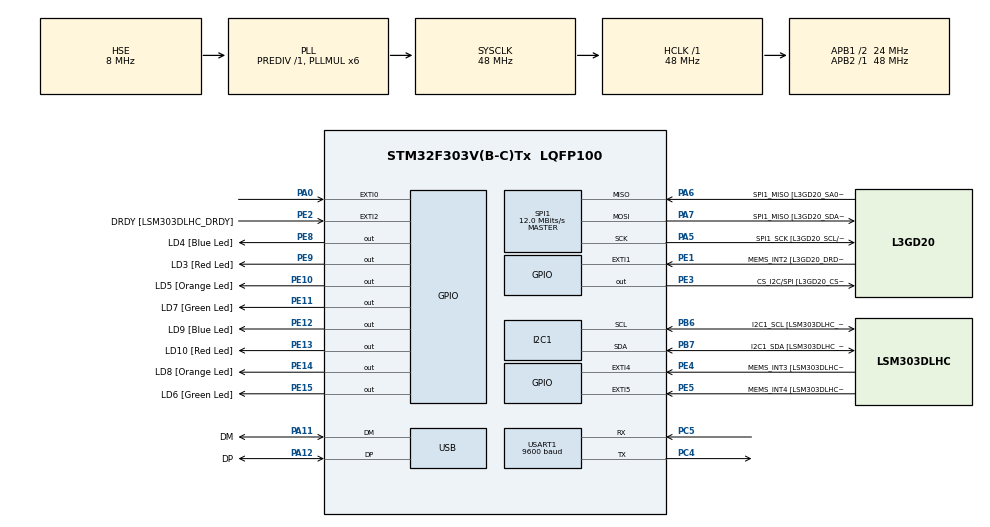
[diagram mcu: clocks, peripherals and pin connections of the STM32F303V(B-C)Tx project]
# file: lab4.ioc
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I2C1.Timing=0x2000090E
I2C1.Timing-I2C=0x2000090E
Mcu.Family=STM32F3
Mcu.Name=STM32F303V(B-C)Tx
Mcu.Package=LQFP100
NVIC.EXTI0_IRQn=true\:0\:0\:false\:false\:true\:true\:true\:true
NVIC.PriorityGroup=NVIC_PRIORITYGROUP_0
NVIC.TIM4_IRQn=true\:0\:0\:false\:false\:true\:true\:true\:true
NVIC.USART1_IRQn=true\:0\:0\:false\:false\:true\:true\:true\:true
PA0.GPIO_PuPd=GPIO_PULLDOWN
PA0.Signal=GPXTI0
PA11.GPIO_Label=DM
PA11.Mode=Device
PA11.Signal=USB_DM
PA12.GPIO_Label=DP
PA12.Mode=Device
PA12.Signal=USB_DP
PA13.GPIO_Label=SWDIO
PA13.Mode=Serial_Wire
PA13.Signal=SYS_JTMS-SWDIO
PA14.GPIO_Label=SWCLK
PA14.Mode=Serial_Wire
PA14.Signal=SYS_JTCK-SWCLK
PA5.GPIO_Label=SPI1_SCK [L3GD20_SCL/SPC]
PA5.Mode=Full_Duplex_Master
PA5.Signal=SPI1_SCK
PA6.GPIO_Label=SPI1_MISO [L3GD20_SA0/SDO]
PA6.Mode=Full_Duplex_Master
PA6.Signal=SPI1_MISO
PA7.GPIO_Label=SPI1_MISO [L3GD20_SDA/SDI/SDO]
PA7.Mode=Full_Duplex_Master
PA7.Signal=SPI1_MOSI
PB3.GPIO_Label=SWO
PB3.Signal=SYS_JTDO-TRACESWO
PB6.GPIO_Label=I2C1_SCL [LSM303DLHC_SCL]
PB6.GPIO_Pu=GPIO_PULLUP
PB6.Mode=I2C
PB6.Signal=I2C1_SCL
PB7.GPIO_Label=I2C1_SDA [LSM303DLHC_SDA]
PB7.GPIO_Pu=GPIO_PULLUP
PB7.Mode=I2C
PB7.Signal=I2C1_SDA
PC14-OSC32_IN.GPIO_Label=OSC32_IN
PC14-OSC32_IN.Signal=RCC_OSC32_IN
PC15-OSC32_OUT.GPIO_Label=OSC32_OUT
PC15-OSC32_OUT.Signal=RCC_OSC32_OUT
PC4.Mode=Asynchronous
PC4.Signal=USART1_TX
PC5.Mode=Asynchronous
PC5.Signal=USART1_RX
PE1.GPIO_Label=MEMS_INT2 [L3GD20_DRDY/INT2]
PE1.GPIO_ModeDefaultEXTI=GPIO_MODE_EVT_RISING
PE1.Signal=GPXTI1
PE10.GPIO_Label=LD5 [Orange Led]
PE10.Signal=GPIO_Output
PE11.GPIO_Label=LD7 [Green Led]
PE11.Signal=GPIO_Output
PE12.GPIO_Label=LD9 [Blue Led]
PE12.Signal=GPIO_Output
PE13.GPIO_Label=LD10 [Red Led]
PE13.Signal=GPIO_Output
PE14.GPIO_Label=LD8 [Orange Led]
PE14.Signal=GPIO_Output
PE15.GPIO_Label=LD6 [Green Led]
PE15.Signal=GPIO_Output
PE2.GPIO_Label=DRDY [LSM303DLHC_DRDY]
PE2.GPIO_ModeDefaultEXTI=GPIO_MODE_EVT_RISING
PE2.Signal=GPXTI2
PE3.GPIO_Label=CS_I2C/SPI [L3GD20_CS_I2C/SPI]
PE3.Signal=GPIO_Output
PE4.GPIO_Label=MEMS_INT3 [LSM303DLHC_INT1]
PE4.GPIO_ModeDefaultEXTI=GPIO_MODE_EVT_RISING
PE4.Signal=GPXTI4
PE5.GPIO_Label=MEMS_INT4 [LSM303DLHC_INT2]
PE5.GPIO_ModeDefaultEXTI=GPIO_MODE_EVT_RISING
PE5.Signal=GPXTI5
PE8.GPIO_Label=LD4 [Blue Led]
PE8.Signal=GPIO_Output
PE9.GPIO_Label=LD3 [Red Led]
PE9.Signal=GPIO_Output
PF0-OSC_IN.GPIO_Label=OSC_IN
PF0-OSC_IN.Mode=HSE-External-Clock-Source
PF0-OSC_IN.Signal=RCC_OSC_IN
PF1-OSC_OUT.GPIO_Label=OSC_OUT
PF1-OSC_OUT.Signal=RCC_OSC_OUT
ProjectManager.HeapSize=0x200
ProjectManager.StackSize=0x400
ProjectManager.TargetToolchain=STM32CubeIDE
RCC.AHBFreq_Value=48000000
RCC.APB1CLKDivider=RCC_HCLK_DIV2
RCC.APB1Freq_Value=24000000
RCC.APB1TimFreq_Value=48000000
RCC.APB2Freq_Value=48000000
RCC.APB2TimFreq_Value=48000000
RCC.CortexFreq_Value=48000000
RCC.HCLKFreq_Value=48000000
RCC.HSE_VALUE=8000000
RCC.HSI_VALUE=8000000
RCC.LSE_VALUE=32768
RCC.PLLMUL=RCC_PLL_MUL6
RCC.SYSCLKFreq_VALUE=48000000
RCC.SYSCLKSourceVirtual=RCC_SYSCLKSOURCE_PLLCLK
RCC.USBFreq_Value=48000000
SPI1.BaudRatePrescaler=SPI_BAUDRATEPRESCALER_4
SPI1.BaudRatePrescaler-Full_Duplex_Master=SPI_BAUDRATEPRESCALER_2
SPI1.CalculateBaudRate=12.0 MBits/s
SPI1.CalculateBaudRate-Full_Duplex_Master=24.0 MBits/s
SPI1.Direction=SPI_DIRECTION_2LINES
SPI1.Mode=SPI_MODE_MASTER
SPI1.Mode-Full_Duplex_Master=SPI_MODE_MASTER
SPI1.VirtualType=VM_MASTER
TIM4.Period=10000
TIM4.Prescaler=2399
USART1.BaudRate=9600
USART1.VirtualMode-Asynchronous=VM_ASYNC
VP_TIM4_VS_ClockSourceINT.Mode=Internal
board=STM32F3DISCOVERY

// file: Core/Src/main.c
/* USER CODE BEGIN Header */
/**
  ******************************************************************************
  * @file           : main.c
  * @brief          : Main program body
  ******************************************************************************
  * @attention
  *
  * Copyright (c) 2023 STMicroelectronics.
  * All rights reserved.
  *
  * This software is licensed under terms that can be found in the LICENSE file
  * in the root directory of this software component.
  * If no LICENSE file comes with this software, it is provided AS-IS.
  *
  ******************************************************************************
  */
/* USER CODE END Header */
#include "main.h"

/* USER CODE BEGIN Includes */
#include "string.h"
/* USER CODE END Includes */

I2C_HandleTypeDef hi2c1;

SPI_HandleTypeDef hspi1;

TIM_HandleTypeDef htim4;

UART_HandleTypeDef huart1;

PCD_HandleTypeDef hpcd_USB_FS;

void SystemClock_Config(void);
static void MX_GPIO_Init(void);
static void MX_I2C1_Init(void);
static void MX_SPI1_Init(void);
static void MX_USB_PCD_Init(void);
static void MX_TIM4_Init(void);
static void MX_USART1_UART_Init(void);

/* USER CODE BEGIN 0 */

unsigned char data[1];
extern int count;
unsigned char buffer[20]="";
unsigned char sentence_1[20]="";
unsigned char sentence_2[20]="";
extern int sentence_counter = 0;
int position = 0;

int contains(char *string1, char *string2) {
    if (strstr(string1, string2) != NULL) {
        return 1;
    } else {
        return 0;
    }
}

void HAL_UART_RxCpltCallback(UART_HandleTypeDef *huart){
	if (huart->Instance == USART1) {
		if (data[0] != 0x0D) {
			buffer[position] = data[0];
			buffer[++position] = '\0';
		} else if (data[0] == 0x0D) {

			switch(sentence_counter){
				case 0:
					strcpy(sentence_1, buffer);
					sentence_counter++;
				case 1:
					strcpy(sentence_2, buffer);
					sentence_counter++;
			}

//			double similarity_percentage = jaro_winkler_similarity(sentence_1, sentence_2) * 100;

			int is_on = contains(buffer, "on");
			int is_off = contains(buffer, "off");
			if (is_on) {
				HAL_GPIO_WritePin(GPIOE, GPIO_PIN_8, 1);
			}else if (is_off){
				HAL_GPIO_WritePin(GPIOE, GPIO_PIN_8, 0);
			}

			position = 0;
			memset(buffer, 0, sizeof(buffer));

		}
	}
	HAL_UART_Receive_IT(&huart1, data, 1);

//	if(huart->Instance == USART1){
//		  switch(data[0])
//		     {
//		         case 'a':
//		        	 HAL_GPIO_TogglePin(GPIOE, GPIO_PIN_8);
//		             break;
//
//		         case 'b':
//		        	 HAL_GPIO_TogglePin(GPIOE, GPIO_PIN_9);
//		             break;
//
//		         case 'c':
//		        	 HAL_GPIO_TogglePin(GPIOE, GPIO_PIN_10);
//		             break;
//		         case 'd':
//		        	 HAL_GPIO_TogglePin(GPIOE, GPIO_PIN_11);
//		             break;
//		         default:
//		        	 HAL_GPIO_TogglePin(GPIOE, GPIO_PIN_15);
//		     }
//
//	}

//	if(huart->Instance == USART1){
//		  switch(data[0])
//		     {
//		         case '1':
//		        	 HAL_GPIO_TogglePin(GPIOE, GPIO_PIN_8);
//		             break;
//
//		         case '2':
//		        	 HAL_GPIO_TogglePin(GPIOE, GPIO_PIN_9);
//		             break;
//
//		         case '3':
//		        	 HAL_GPIO_TogglePin(GPIOE, GPIO_PIN_10);
//		             break;
//		         case '4':
//		        	 HAL_GPIO_TogglePin(GPIOE, GPIO_PIN_11);
//		             break;
//		         default:
//		        	 HAL_GPIO_TogglePin(GPIOE, GPIO_PIN_15);
//		     }
//		  HAL_UART_Receive_IT(&huart1, data, sizeof(data));
//	}

}

/* USER CODE END 0 */

int main(void)
{

  /* MCU Configuration--------------------------------------------------------*/

  /* Reset of all peripherals, Initializes the Flash interface and the Systick. */
  HAL_Init();

  /* Configure the system clock */
  SystemClock_Config();

  /* Initialize all configured peripherals */
  MX_GPIO_Init();
  MX_I2C1_Init();
  MX_SPI1_Init();
  MX_USB_PCD_Init();
  MX_TIM4_Init();
  MX_USART1_UART_Init();
  /* USER CODE BEGIN 2 */

//  unsigned char hello[8] = "hello \n";

//  HAL_UART_Transmit(&huart1, hello, sizeof(unsigned char) * 8, 1000);
  HAL_UART_Receive_IT(&huart1, data, sizeof(data));

  //  HAL_UART_Receive_IT(&huart2, data, sizeof(data));

  /* USER CODE END 2 */

  /* Infinite loop */
  while (1)
  {

  }
}

void SystemClock_Config(void)
{
  RCC_OscInitTypeDef RCC_OscInitStruct = {0};
  RCC_ClkInitTypeDef RCC_ClkInitStruct = {0};
  RCC_PeriphCLKInitTypeDef PeriphClkInit = {0};

  /** Initializes the RCC Oscillators according to the specified parameters
  * in the RCC_OscInitTypeDef structure.
  */
  RCC_OscInitStruct.OscillatorType = RCC_OSCILLATORTYPE_HSI|RCC_OSCILLATORTYPE_HSE;
  RCC_OscInitStruct.HSEState = RCC_HSE_BYPASS;
  RCC_OscInitStruct.HSEPredivValue = RCC_HSE_PREDIV_DIV1;
  RCC_OscInitStruct.HSIState = RCC_HSI_ON;
  RCC_OscInitStruct.HSICalibrationValue = RCC_HSICALIBRATION_DEFAULT;
  RCC_OscInitStruct.PLL.PLLState = RCC_PLL_ON;
  RCC_OscInitStruct.PLL.PLLSource = RCC_PLLSOURCE_HSE;
  RCC_OscInitStruct.PLL.PLLMUL = RCC_PLL_MUL6;
  if (HAL_RCC_OscConfig(&RCC_OscInitStruct) != HAL_OK)
  {
    Error_Handler();
  }

  /** Initializes the CPU, AHB and APB buses clocks
  */
  RCC_ClkInitStruct.ClockType = RCC_CLOCKTYPE_HCLK|RCC_CLOCKTYPE_SYSCLK
                              |RCC_CLOCKTYPE_PCLK1|RCC_CLOCKTYPE_PCLK2;
  RCC_ClkInitStruct.SYSCLKSource = RCC_SYSCLKSOURCE_PLLCLK;
  RCC_ClkInitStruct.AHBCLKDivider = RCC_SYSCLK_DIV1;
  RCC_ClkInitStruct.APB1CLKDivider = RCC_HCLK_DIV2;
  RCC_ClkInitStruct.APB2CLKDivider = RCC_HCLK_DIV1;

  if (HAL_RCC_ClockConfig(&RCC_ClkInitStruct, FLASH_LATENCY_1) != HAL_OK)
  {
    Error_Handler();
  }
  PeriphClkInit.PeriphClockSelection = RCC_PERIPHCLK_USB|RCC_PERIPHCLK_USART1
                              |RCC_PERIPHCLK_I2C1;
  PeriphClkInit.Usart1ClockSelection = RCC_USART1CLKSOURCE_PCLK2;
  PeriphClkInit.I2c1ClockSelection = RCC_I2C1CLKSOURCE_HSI;
  PeriphClkInit.USBClockSelection = RCC_USBCLKSOURCE_PLL;
  if (HAL_RCCEx_PeriphCLKConfig(&PeriphClkInit) != HAL_OK)
  {
    Error_Handler();
  }
}

static void MX_I2C1_Init(void)
{

  hi2c1.Instance = I2C1;
  hi2c1.Init.Timing = 0x2000090E;
  hi2c1.Init.OwnAddress1 = 0;
  hi2c1.Init.AddressingMode = I2C_ADDRESSINGMODE_7BIT;
  hi2c1.Init.DualAddressMode = I2C_DUALADDRESS_DISABLE;
  hi2c1.Init.OwnAddress2 = 0;
  hi2c1.Init.OwnAddress2Masks = I2C_OA2_NOMASK;
  hi2c1.Init.GeneralCallMode = I2C_GENERALCALL_DISABLE;
  hi2c1.Init.NoStretchMode = I2C_NOSTRETCH_DISABLE;
  if (HAL_I2C_Init(&hi2c1) != HAL_OK)
  {
    Error_Handler();
  }

  /** Configure Analogue filter
  */
  if (HAL_I2CEx_ConfigAnalogFilter(&hi2c1, I2C_ANALOGFILTER_ENABLE) != HAL_OK)
  {
    Error_Handler();
  }

  /** Configure Digital filter
  */
  if (HAL_I2CEx_ConfigDigitalFilter(&hi2c1, 0) != HAL_OK)
  {
    Error_Handler();
  }

}

static void MX_SPI1_Init(void)
{

  /* SPI1 parameter configuration*/
  hspi1.Instance = SPI1;
  hspi1.Init.Mode = SPI_MODE_MASTER;
  hspi1.Init.Direction = SPI_DIRECTION_2LINES;
  hspi1.Init.DataSize = SPI_DATASIZE_4BIT;
  hspi1.Init.CLKPolarity = SPI_POLARITY_LOW;
  hspi1.Init.CLKPhase = SPI_PHASE_1EDGE;
  hspi1.Init.NSS = SPI_NSS_SOFT;
  hspi1.Init.BaudRatePrescaler = SPI_BAUDRATEPRESCALER_4;
  hspi1.Init.FirstBit = SPI_FIRSTBIT_MSB;
  hspi1.Init.TIMode = SPI_TIMODE_DISABLE;
  hspi1.Init.CRCCalculation = SPI_CRCCALCULATION_DISABLE;
  hspi1.Init.CRCPolynomial = 7;
  hspi1.Init.CRCLength = SPI_CRC_LENGTH_DATASIZE;
  hspi1.Init.NSSPMode = SPI_NSS_PULSE_ENABLE;
  if (HAL_SPI_Init(&hspi1) != HAL_OK)
  {
    Error_Handler();
  }

}

static void MX_TIM4_Init(void)
{

  TIM_ClockConfigTypeDef sClockSourceConfig = {0};
  TIM_MasterConfigTypeDef sMasterConfig = {0};

  htim4.Instance = TIM4;
  htim4.Init.Prescaler = 2399;
  htim4.Init.CounterMode = TIM_COUNTERMODE_UP;
  htim4.Init.Period = 10000;
  htim4.Init.ClockDivision = TIM_CLOCKDIVISION_DIV1;
  htim4.Init.AutoReloadPreload = TIM_AUTORELOAD_PRELOAD_DISABLE;
  if (HAL_TIM_Base_Init(&htim4) != HAL_OK)
  {
    Error_Handler();
  }
  sClockSourceConfig.ClockSource = TIM_CLOCKSOURCE_INTERNAL;
  if (HAL_TIM_ConfigClockSource(&htim4, &sClockSourceConfig) != HAL_OK)
  {
    Error_Handler();
  }
  sMasterConfig.MasterOutputTrigger = TIM_TRGO_RESET;
  sMasterConfig.MasterSlaveMode = TIM_MASTERSLAVEMODE_DISABLE;
  if (HAL_TIMEx_MasterConfigSynchronization(&htim4, &sMasterConfig) != HAL_OK)
  {
    Error_Handler();
  }

}

static void MX_USART1_UART_Init(void)
{

  huart1.Instance = USART1;
  huart1.Init.BaudRate = 9600;
  huart1.Init.WordLength = UART_WORDLENGTH_8B;
  huart1.Init.StopBits = UART_STOPBITS_1;
  huart1.Init.Parity = UART_PARITY_NONE;
  huart1.Init.Mode = UART_MODE_TX_RX;
  huart1.Init.HwFlowCtl = UART_HWCONTROL_NONE;
  huart1.Init.OverSampling = UART_OVERSAMPLING_16;
  huart1.Init.OneBitSampling = UART_ONE_BIT_SAMPLE_DISABLE;
  huart1.AdvancedInit.AdvFeatureInit = UART_ADVFEATURE_NO_INIT;
  if (HAL_UART_Init(&huart1) != HAL_OK)
  {
    Error_Handler();
  }

}

static void MX_USB_PCD_Init(void)
{

  hpcd_USB_FS.Instance = USB;
  hpcd_USB_FS.Init.dev_endpoints = 8;
  hpcd_USB_FS.Init.speed = PCD_SPEED_FULL;
  hpcd_USB_FS.Init.phy_itface = PCD_PHY_EMBEDDED;
  hpcd_USB_FS.Init.low_power_enable = DISABLE;
  hpcd_USB_FS.Init.battery_charging_enable = DISABLE;
  if (HAL_PCD_Init(&hpcd_USB_FS) != HAL_OK)
  {
    Error_Handler();
  }

}

static void MX_GPIO_Init(void)
{
  GPIO_InitTypeDef GPIO_InitStruct = {0};

  /* GPIO Ports Clock Enable */
  __HAL_RCC_GPIOE_CLK_ENABLE();
  __HAL_RCC_GPIOC_CLK_ENABLE();
  __HAL_RCC_GPIOF_CLK_ENABLE();
  __HAL_RCC_GPIOA_CLK_ENABLE();
  __HAL_RCC_GPIOB_CLK_ENABLE();

  /*Configure GPIO pin Output Level */
  HAL_GPIO_WritePin(GPIOE, CS_I2C_SPI_Pin|LD4_Pin|LD3_Pin|LD5_Pin
                          |LD7_Pin|LD9_Pin|LD10_Pin|LD8_Pin
                          |LD6_Pin, GPIO_PIN_RESET);

  /*Configure GPIO pins : DRDY_Pin MEMS_INT3_Pin MEMS_INT4_Pin MEMS_INT2_Pin */
  GPIO_InitStruct.Pin = DRDY_Pin|MEMS_INT3_Pin|MEMS_INT4_Pin|MEMS_INT2_Pin;
  GPIO_InitStruct.Mode = GPIO_MODE_EVT_RISING;
  GPIO_InitStruct.Pull = GPIO_NOPULL;
  HAL_GPIO_Init(GPIOE, &GPIO_InitStruct);

  /*Configure GPIO pins : CS_I2C_SPI_Pin LD4_Pin LD3_Pin LD5_Pin
                           LD7_Pin LD9_Pin LD10_Pin LD8_Pin
                           LD6_Pin */
  GPIO_InitStruct.Pin = CS_I2C_SPI_Pin|LD4_Pin|LD3_Pin|LD5_Pin
                          |LD7_Pin|LD9_Pin|LD10_Pin|LD8_Pin
                          |LD6_Pin;
  GPIO_InitStruct.Mode = GPIO_MODE_OUTPUT_PP;
  GPIO_InitStruct.Pull = GPIO_NOPULL;
  GPIO_InitStruct.Speed = GPIO_SPEED_FREQ_LOW;
  HAL_GPIO_Init(GPIOE, &GPIO_InitStruct);

  /*Configure GPIO pin : PA0 */
  GPIO_InitStruct.Pin = GPIO_PIN_0;
  GPIO_InitStruct.Mode = GPIO_MODE_IT_RISING;
  GPIO_InitStruct.Pull = GPIO_PULLDOWN;
  HAL_GPIO_Init(GPIOA, &GPIO_InitStruct);

  /* EXTI interrupt init*/
  HAL_NVIC_SetPriority(EXTI0_IRQn, 0, 0);
  HAL_NVIC_EnableIRQ(EXTI0_IRQn);

}

void Error_Handler(void)
{
  __disable_irq();
  while (1)
  {
  }
}
